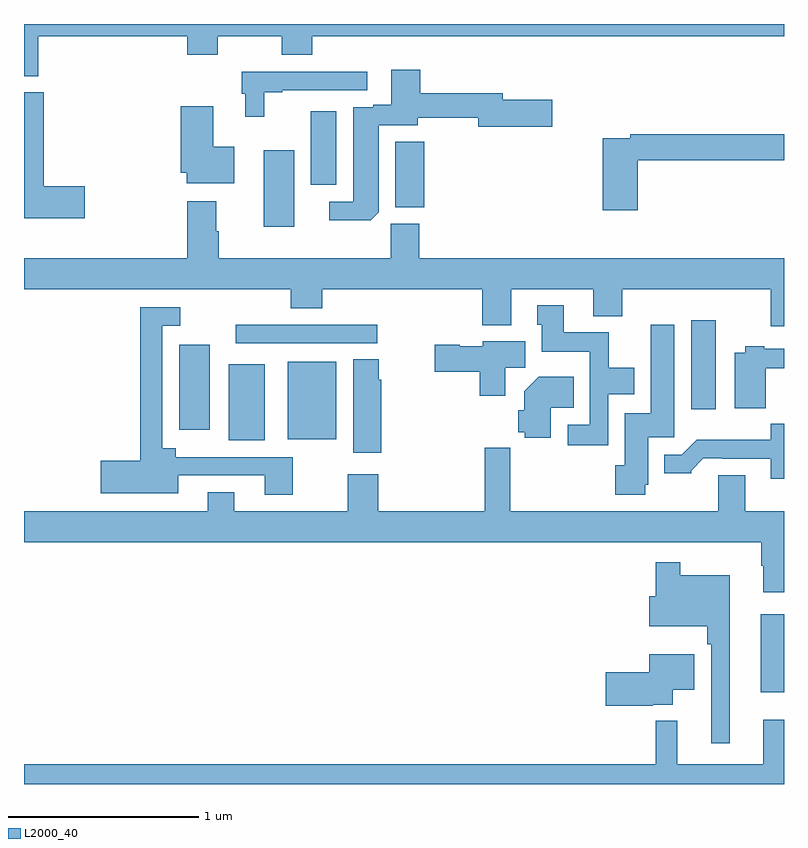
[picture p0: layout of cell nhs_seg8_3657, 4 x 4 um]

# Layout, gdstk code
import gdstk
lib = gdstk.Library(unit=1e-6, precision=1e-09)
def R(c, l, rs):  # rectangles x0, y0, x1, y1
    for r in rs: c.add(gdstk.rectangle(r[:2], r[2:], *l))
def P(c, l, *ps):  # polygons
    for p in ps: c.add(gdstk.Polygon(p, *l))
L2000_40 = (2000, 40)

nhs_seg8_3657 = lib.new_cell('nhs_seg8_3657')
R(nhs_seg8_3657, L2000_40, [(340.877,1110.383,341,1110.793), (338.078,1111.709,338.266,1112.11), (338.387,1111.715,338.644,1112.122), (337.817,1111.764,337.978,1112.212), (340.511,1111.872,340.642,1112.341), (338.115,1112.22,338.86,1112.316), (338.261,1112.832,338.422,1113.235), (338.954,1112.935,339.107,1113.281), (338.51,1113.054,338.644,1113.442)])
P(nhs_seg8_3657, L2000_40, [(337.076,1113.836),(337.859,1113.836),(337.859,1113.737),(338.019,1113.737),(338.019,1113.836),(338.356,1113.836),(338.356,1113.737),(338.516,1113.737),(338.516,1113.836),(341,1113.836),(341,1113.9),(337,1113.9),(337,1113.625),(337.076,1113.625)],
  [(338.866,1112.908),(338.866,1113.366),(339.073,1113.366),(339.073,1113.406),(339.392,1113.406),(339.392,1113.359),(339.781,1113.359),(339.781,1113.501),(339.52,1113.501),(339.52,1113.535),(339.086,1113.535),(339.086,1113.658),(338.933,1113.658),(338.933,1113.475),(338.837,1113.475),(338.837,1113.462),(338.732,1113.462),(338.732,1112.964),(338.607,1112.964),(338.607,1112.867),(338.825,1112.867)],
  [(338.265,1113.54),(338.359,1113.54),(338.359,1113.552),(338.806,1113.552),(338.806,1113.648),(338.146,1113.648),(338.146,1113.534),(338.165,1113.534),(338.165,1113.411),(338.265,1113.411)],
  [(337.321,1113.047),(337.103,1113.047),(337.103,1113.54),(337,1113.54),(337,1112.877),(337.321,1112.877)],
  [(338.107,1113.253),(337.996,1113.253),(337.996,1113.466),(337.826,1113.466),(337.826,1113.117),(337.856,1113.117),(337.856,1113.062),(338.107,1113.062)],
  [(340.229,1113.184),(341,1113.184),(341,1113.32),(340.192,1113.32),(340.192,1113.3),(340.046,1113.3),(340.046,1112.919),(340.229,1112.919)],
  [(341,1112.668),(339.08,1112.668),(339.08,1112.85),(338.929,1112.85),(338.929,1112.668),(338.024,1112.668),(338.024,1112.81),(338.011,1112.81),(338.011,1112.968),(337.859,1112.968),(337.859,1112.668),(337,1112.668),(337,1112.504),(338.405,1112.504),(338.405,1112.405),(338.57,1112.405),(338.57,1112.504),(339.413,1112.504),(339.413,1112.315),(339.565,1112.315),(339.565,1112.504),(339.995,1112.504),(339.995,1112.363),(340.148,1112.363),(340.148,1112.504),(340.931,1112.504),(340.931,1112.31),(341,1112.31)],
  [(340.074,1111.952),(340.213,1111.952),(340.213,1112.092),(340.077,1112.092),(340.077,1112.278),(339.841,1112.278),(339.841,1112.419),(339.701,1112.419),(339.701,1112.316),(339.725,1112.316),(339.725,1112.174),(339.978,1112.174),(339.978,1111.791),(339.861,1111.791),(339.861,1111.683),(340.074,1111.683)],
  [(338.415,1111.62),(337.798,1111.62),(337.798,1111.666),(337.728,1111.666),(337.728,1112.313),(337.822,1112.313),(337.822,1112.409),(337.612,1112.409),(337.612,1111.601),(337.404,1111.601),(337.404,1111.43),(337.813,1111.43),(337.813,1111.524),(338.267,1111.524),(338.267,1111.422),(338.415,1111.422)],
  [(340.269,1111.476),(340.285,1111.476),(340.285,1111.725),(340.423,1111.725),(340.423,1112.317),(340.298,1112.317),(340.298,1111.852),(340.163,1111.852),(340.163,1111.578),(340.112,1111.578),(340.112,1111.422),(340.269,1111.422)],
  [(339.532,1112.092),(339.637,1112.092),(339.637,1112.23),(339.414,1112.23),(339.414,1112.203),(339.294,1112.203),(339.294,1112.211),(339.162,1112.211),(339.162,1112.069),(339.398,1112.069),(339.398,1111.944),(339.532,1111.944)],
  [(340.904,1112.089),(341,1112.089),(341,1112.19),(340.897,1112.19),(340.897,1112.203),(340.797,1112.203),(340.797,1112.17),(340.742,1112.17),(340.742,1111.877),(340.904,1111.877)],
  [(338.879,1112.027),(338.866,1112.027),(338.866,1112.135),(338.732,1112.135),(338.732,1111.644),(338.879,1111.644)],
  [(339.772,1111.88),(339.893,1111.88),(339.893,1112.044),(339.71,1112.044),(339.632,1111.966),(339.632,1111.866),(339.602,1111.866),(339.602,1111.752),(339.636,1111.752),(339.636,1111.723),(339.772,1111.723)],
  [(341,1111.795),(340.929,1111.795),(340.929,1111.711),(340.54,1111.711),(340.461,1111.632),(340.37,1111.632),(340.37,1111.535),(340.512,1111.535),(340.512,1111.55),(340.576,1111.614),(340.675,1111.614),(340.675,1111.611),(340.931,1111.611),(340.931,1111.506),(341,1111.506)],
  [(339.424,1111.669),(339.424,1111.336),(338.864,1111.336),(338.864,1111.531),(338.704,1111.531),(338.704,1111.336),(338.107,1111.336),(338.107,1111.435),(337.967,1111.435),(337.967,1111.336),(337,1111.336),(337,1111.172),(340.881,1111.172),(340.881,1111.049),(340.892,1111.049),(340.892,1110.909),(341,1110.909),(341,1111.336),(340.795,1111.336),(340.795,1111.526),(340.655,1111.526),(340.655,1111.336),(339.56,1111.336),(339.56,1111.669)],
  [(340.714,1111),(340.453,1111),(340.453,1111.066),(340.324,1111.066),(340.324,1110.889),(340.29,1110.889),(340.29,1110.731),(340.597,1110.731),(340.597,1110.635),(340.617,1110.635),(340.617,1110.114),(340.714,1110.114)],
  [(340.31,1110.317),(340.414,1110.317),(340.414,1110.395),(340.528,1110.395),(340.528,1110.583),(340.292,1110.583),(340.292,1110.488),(340.062,1110.488),(340.062,1110.312),(340.31,1110.312)],
  [(341,1110.238),(340.892,1110.238),(340.892,1110.004),(340.439,1110.004),(340.439,1110.232),(340.325,1110.232),(340.325,1110.004),(337,1110.004),(337,1109.9),(341,1109.9)])

lib.write_gds('nhs_seg8_3657.gds')
